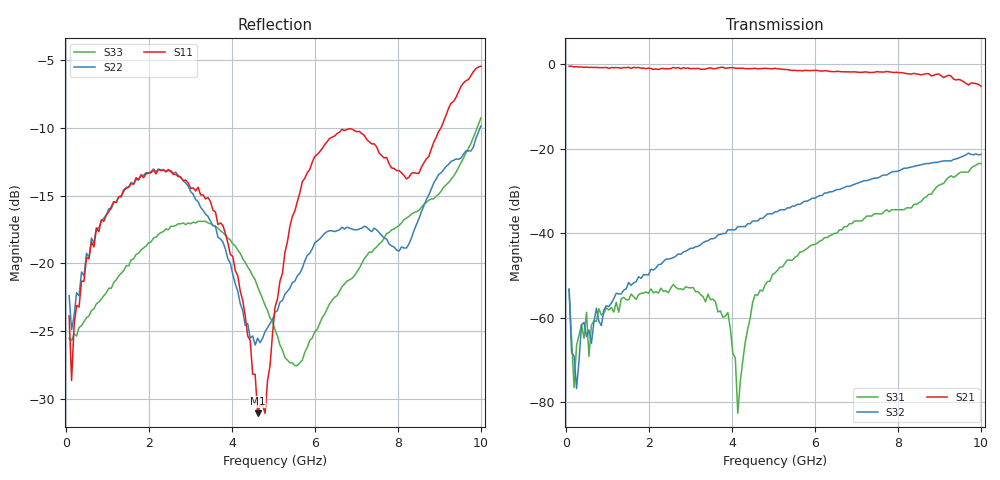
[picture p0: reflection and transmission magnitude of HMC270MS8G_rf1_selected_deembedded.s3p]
!Hittite Microwave Corporation
!12 Elizabeth Drive
!Chelmsford, MA 01824
!Tel: 978-250-3343
!Fax: 978-250-3373
!Device: HMC270MS8G, DC-8 GHz GaAS MMIC SPDT non-reflective switch in 8-lead MSOP grounded base package
!Misc: Port1 = RFCom, Port2 = RF1, Port3 = RF2, RF2 selected, Vctl=-5V
# MHZ S MA R 50
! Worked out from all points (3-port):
!   167 points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, 69.82 MHz to 10 GHz, reference 50 ohm
!   strongest paths, dB at 69.82 MHz, 2.522 GHz, 5.035 GHz, 7.547 GHz, 10 GHz:
!     S21: -0.4, -1.0, -0.9, -1.8, -5.2
!     S32: -53.2, -46.0, -34.9, -26.7, -21.3
!     S31: -53.3, -52.9, -49.4, -35.4, -23.5
!   lowest |S11| = -31.1 dB at 4.616 GHz (marker M1), VSWR 1.06, Z = 51 + j2.66 ohm
!   |S11| at or under -10 dB: start of sweep to 9.038 GHz
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69.82  0.064 -4.8  0.966 -2.1  0.00131 128.8
       0.95 -1.5  0.076 5.2  0.0003904 -80.6
       0.002159 -132.5  0.002183 174.2  0.053 -2.1
189.461  0.059 12.5  0.942 -2.3  0.0003308 43.4
         0.935 -2.0  0.064 16.4  0.0002521 81.0
         0.0001494 25.8  0.0003512 55.5  0.055 9.0
249.281  0.07 45.6  0.939 -2.6  9.421e-05 -16.0
         0.94 -2.5  0.078 36.8  0.0003117 74.1
         0.0004691 139.9  0.000145 78.1  0.054 12.6
548.383  0.104 34.3  0.925 -4.0  0.0008726 93.5
         0.921 -4.2  0.105 38.6  0.0004485 101.4
         0.0003479 111.2  0.0007162 98.4  0.064 25.7
2701.916  0.209 8.3  0.903 -12.9  0.002424 109.2
          0.918 -13.6  0.211 9.1  0.005637 158.3
          0.002187 102.4  0.005689 155.9  0.14 48.8
3898.323  0.119 17.6  0.919 -19.5  0.0007414 107.8
          0.909 -20.0  0.104 -7.9  0.01 176.0
          0.00115 110.9  0.011 174.4  0.124 50.6
4137.605  0.09 19.8  0.903 -20.9  6.213e-05 159.7
          0.9 -22.0  0.079 -11.2  0.012 178.1
          7.38e-05 59.4  0.012 176.3  0.112 50.6
4616.168  0.028 68.8  0.892 -25.4  0.001935 -99.7
          0.885 -25.1  0.053 5.3  0.014 -176.8
          0.001843 -98.6  0.014 -177.2  0.082 46.1
5034.91  0.069 160.1  0.882 -28.8  0.003146 -98.9
         0.9 -28.7  0.066 7.1  0.018 -173.1
         0.003389 -101.9  0.018 -172.6  0.057 34.6
10000  0.534 129.8  0.631 -90.6  0.076 -74.1
       0.55 -83.2  0.321 53.2  0.08 149.4
       0.067 -65.3  0.086 142.6  0.344 -21.5
